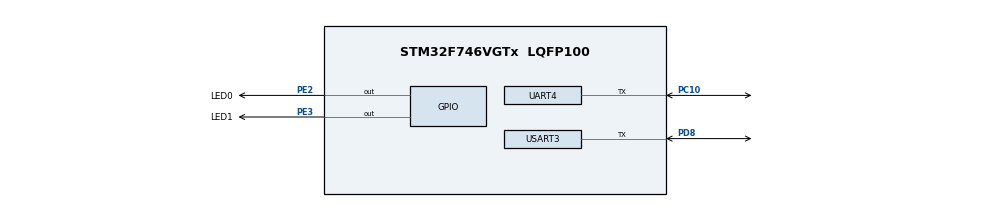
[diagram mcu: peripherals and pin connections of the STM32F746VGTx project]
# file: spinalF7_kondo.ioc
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Mcu.Family=STM32F7
PC10.Signal=UART4_TX
PC10.Mode=Half_duplex(single_wire_mode)
ProjectManager.StackSize=0x400
ProjectManager.TargetToolchain=STM32CubeIDE
UART4.Parity=PARITY_EVEN
PD8.Signal=USART3_TX
RCC.USBFreq_Value=96000000
RCC.LSE_VALUE=32768
PD8.Mode=Half_duplex(single_wire_mode)
RCC.HSE_VALUE=25000000
board=custom
RCC.VCOOutputFreq_Value=192000000
USART3.WordLength=WORDLENGTH_9B
PE2.Signal=GPIO_Output
Mcu.Name=STM32F746VGTx
Mcu.Package=LQFP100
USART3.VirtualMode-Half_duplex(single_wire_mode)=VM_ASYNC
ProjectManager.HeapSize=0x200
RCC.HSI_VALUE=16000000
NVIC.PriorityGroup=NVIC_PRIORITYGROUP_4
UART4.WordLength=WORDLENGTH_9B
PE3.Signal=GPIO_Output
PE3.GPIO_Label=LED1
PE2.GPIO_Label=LED0
USART3.Parity=PARITY_EVEN

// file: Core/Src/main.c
/* USER CODE BEGIN Header */
/**
  ******************************************************************************
  * @file           : main.c
  * @brief          : Main program body
  ******************************************************************************
  * @attention
  *
  * <h2><center>&copy; Copyright (c) 2023 STMicroelectronics.
  * All rights reserved.</center></h2>
  *
  * This software component is licensed by ST under BSD 3-Clause license,
  * the "License"; You may not use this file except in compliance with the
  * License. You may obtain a copy of the License at:
  *                        opensource.org/licenses/BSD-3-Clause
  *
  ******************************************************************************
  */
/* USER CODE END Header */
#include "main.h"

/* USER CODE BEGIN Includes */
#include "kondo.h"
/* USER CODE END Includes */

UART_HandleTypeDef huart4;
UART_HandleTypeDef huart3;

void SystemClock_Config(void);
static void MX_GPIO_Init(void);
static void MX_USART3_UART_Init(void);
static void MX_UART4_Init(void);

int main(void)
{

  /* MCU Configuration--------------------------------------------------------*/

  /* Reset of all peripherals, Initializes the Flash interface and the Systick. */
  HAL_Init();

  /* Configure the system clock */
  SystemClock_Config();

  /* Initialize all configured peripherals */
  MX_GPIO_Init();
  MX_USART3_UART_Init();
  MX_UART4_Init();

  /* Infinite loop */
  /* USER CODE BEGIN WHILE */
  kondo_servo_t kondo_servo1 = {1, 115200, 0, huart3, 0, 0, 7500, 7500};
  kondo_servo_t kondo_servo2 = {2, 115200, 0, huart3, 0, 0, 7500, 7500};
  while (1)
  {

	  HAL_Delay(500);
	  HAL_GPIO_TogglePin(LED0_GPIO_Port, LED0_Pin);
	  HAL_GPIO_TogglePin(LED1_GPIO_Port, LED1_Pin);
	  setPosition(&kondo_servo1, 7500);
	  HAL_Delay(10);
	  setPosition(&kondo_servo2, 7500);

	  HAL_Delay(500);
	  HAL_GPIO_TogglePin(LED0_GPIO_Port, LED0_Pin);
	  HAL_GPIO_TogglePin(LED1_GPIO_Port, LED1_Pin);
	  setPosition(&kondo_servo1, 9000);
	  HAL_Delay(10);
	  setPosition(&kondo_servo2, 9000);

	  HAL_Delay(500);
	  HAL_GPIO_TogglePin(LED0_GPIO_Port, LED0_Pin);
	  HAL_GPIO_TogglePin(LED1_GPIO_Port, LED1_Pin);
	  setPosition(&kondo_servo1, 7500);
	  HAL_Delay(10);
	  setPosition(&kondo_servo2, 7500);

	  HAL_Delay(500);
	  HAL_GPIO_TogglePin(LED0_GPIO_Port, LED0_Pin);
	  HAL_GPIO_TogglePin(LED1_GPIO_Port, LED1_Pin);
	  setPosition(&kondo_servo1, 6000);
	  HAL_Delay(10);
	  setPosition(&kondo_servo2, 6000);

    /* USER CODE END WHILE */

  }
}

void SystemClock_Config(void)
{
  RCC_OscInitTypeDef RCC_OscInitStruct = {0};
  RCC_ClkInitTypeDef RCC_ClkInitStruct = {0};
  RCC_PeriphCLKInitTypeDef PeriphClkInitStruct = {0};

  /** Configure the main internal regulator output voltage
  */
  __HAL_RCC_PWR_CLK_ENABLE();
  __HAL_PWR_VOLTAGESCALING_CONFIG(PWR_REGULATOR_VOLTAGE_SCALE3);
  /** Initializes the RCC Oscillators according to the specified parameters
  * in the RCC_OscInitTypeDef structure.
  */
  RCC_OscInitStruct.OscillatorType = RCC_OSCILLATORTYPE_HSI;
  RCC_OscInitStruct.HSIState = RCC_HSI_ON;
  RCC_OscInitStruct.HSICalibrationValue = RCC_HSICALIBRATION_DEFAULT;
  RCC_OscInitStruct.PLL.PLLState = RCC_PLL_NONE;
  if (HAL_RCC_OscConfig(&RCC_OscInitStruct) != HAL_OK)
  {
    Error_Handler();
  }
  /** Initializes the CPU, AHB and APB buses clocks
  */
  RCC_ClkInitStruct.ClockType = RCC_CLOCKTYPE_HCLK|RCC_CLOCKTYPE_SYSCLK
                              |RCC_CLOCKTYPE_PCLK1|RCC_CLOCKTYPE_PCLK2;
  RCC_ClkInitStruct.SYSCLKSource = RCC_SYSCLKSOURCE_HSI;
  RCC_ClkInitStruct.AHBCLKDivider = RCC_SYSCLK_DIV1;
  RCC_ClkInitStruct.APB1CLKDivider = RCC_HCLK_DIV1;
  RCC_ClkInitStruct.APB2CLKDivider = RCC_HCLK_DIV1;

  if (HAL_RCC_ClockConfig(&RCC_ClkInitStruct, FLASH_LATENCY_0) != HAL_OK)
  {
    Error_Handler();
  }
  PeriphClkInitStruct.PeriphClockSelection = RCC_PERIPHCLK_USART3|RCC_PERIPHCLK_UART4;
  PeriphClkInitStruct.Usart3ClockSelection = RCC_USART3CLKSOURCE_PCLK1;
  PeriphClkInitStruct.Uart4ClockSelection = RCC_UART4CLKSOURCE_PCLK1;
  if (HAL_RCCEx_PeriphCLKConfig(&PeriphClkInitStruct) != HAL_OK)
  {
    Error_Handler();
  }
}

static void MX_UART4_Init(void)
{

  huart4.Instance = UART4;
  huart4.Init.BaudRate = 115200;
  huart4.Init.WordLength = UART_WORDLENGTH_9B;
  huart4.Init.StopBits = UART_STOPBITS_1;
  huart4.Init.Parity = UART_PARITY_EVEN;
  huart4.Init.Mode = UART_MODE_TX_RX;
  huart4.Init.HwFlowCtl = UART_HWCONTROL_NONE;
  huart4.Init.OverSampling = UART_OVERSAMPLING_16;
  huart4.Init.OneBitSampling = UART_ONE_BIT_SAMPLE_DISABLE;
  huart4.AdvancedInit.AdvFeatureInit = UART_ADVFEATURE_NO_INIT;
  if (HAL_HalfDuplex_Init(&huart4) != HAL_OK)
  {
    Error_Handler();
  }

}

static void MX_USART3_UART_Init(void)
{

  huart3.Instance = USART3;
  huart3.Init.BaudRate = 115200;
  huart3.Init.WordLength = UART_WORDLENGTH_9B;
  huart3.Init.StopBits = UART_STOPBITS_1;
  huart3.Init.Parity = UART_PARITY_EVEN;
  huart3.Init.Mode = UART_MODE_TX_RX;
  huart3.Init.HwFlowCtl = UART_HWCONTROL_NONE;
  huart3.Init.OverSampling = UART_OVERSAMPLING_16;
  huart3.Init.OneBitSampling = UART_ONE_BIT_SAMPLE_DISABLE;
  huart3.AdvancedInit.AdvFeatureInit = UART_ADVFEATURE_NO_INIT;
  if (HAL_HalfDuplex_Init(&huart3) != HAL_OK)
  {
    Error_Handler();
  }

}

static void MX_GPIO_Init(void)
{
  GPIO_InitTypeDef GPIO_InitStruct = {0};

  /* GPIO Ports Clock Enable */
  __HAL_RCC_GPIOE_CLK_ENABLE();
  __HAL_RCC_GPIOD_CLK_ENABLE();
  __HAL_RCC_GPIOC_CLK_ENABLE();

  /*Configure GPIO pin Output Level */
  HAL_GPIO_WritePin(GPIOE, LED0_Pin|LED1_Pin, GPIO_PIN_RESET);

  /*Configure GPIO pins : LED0_Pin LED1_Pin */
  GPIO_InitStruct.Pin = LED0_Pin|LED1_Pin;
  GPIO_InitStruct.Mode = GPIO_MODE_OUTPUT_PP;
  GPIO_InitStruct.Pull = GPIO_NOPULL;
  GPIO_InitStruct.Speed = GPIO_SPEED_FREQ_LOW;
  HAL_GPIO_Init(GPIOE, &GPIO_InitStruct);

}

void Error_Handler(void)
{
  __disable_irq();
  while (1)
  {
  }
}

/************************ (C) COPYRIGHT STMicroelectronics *****END OF FILE****/
